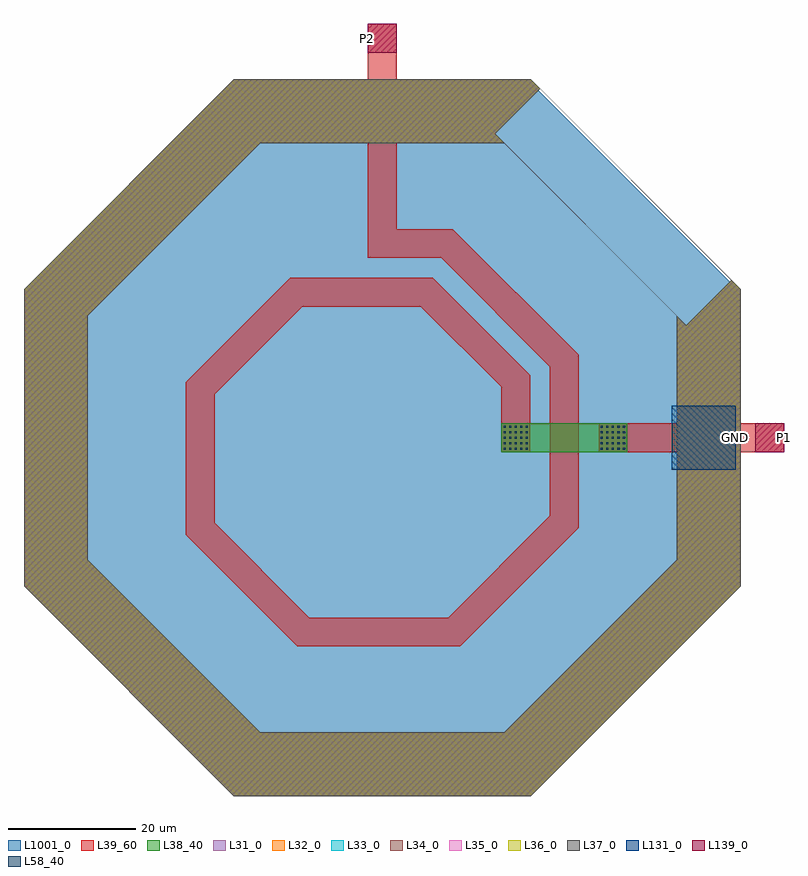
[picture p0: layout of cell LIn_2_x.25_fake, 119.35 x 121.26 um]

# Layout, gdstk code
import gdstk
lib = gdstk.Library(unit=1e-6, precision=1e-09)
def R(c, l, rs):  # rectangles x0, y0, x1, y1
    for r in rs: c.add(gdstk.rectangle(r[:2], r[2:], *l))
def A(c, l, x, y, w, h, nx, ny, dx, dy):  # array of equal rectangles
    R(c, l, [(x+i*dx, y+j*dy, x+i*dx+w, y+j*dy+h) for i in range(nx) for j in range(ny)])
def P(c, l, *ps):  # polygons
    for p in ps: c.add(gdstk.Polygon(p, *l))
L31_0 = (31, 0)
L32_0 = (32, 0)
L33_0 = (33, 0)
L34_0 = (34, 0)
L35_0 = (35, 0)
L36_0 = (36, 0)
L37_0 = (37, 0)
L38_40 = (38, 40)
L39_60 = (39, 60)
L58_40 = (58, 40)
L131_0 = (131, 0)
L139_0 = (139, 0)
L1001_0 = (1001, 0)

lin_2_x_25_fake = lib.new_cell('LIn_2_x.25_fake')
P(lin_2_x_25_fake, L31_0, [(47.731,17.7),(54.803,24.771),(23.307,56.267),(-23.307,56.267),(-56.267,23.307),(-56.267,-23.307),(-23.307,-56.267),(23.307,-56.267),(56.267,-23.307),(56.267,23.307),(24.771,54.803),(17.7,47.731),(46.267,19.164),(46.267,-19.164),(19.164,-46.267),(-19.164,-46.267),(-46.267,-19.164),(-46.267,19.164),(-19.164,46.267),(19.164,46.267)])
P(lin_2_x_25_fake, L32_0, [(47.731,17.7),(54.803,24.771),(23.307,56.267),(-23.307,56.267),(-56.267,23.307),(-56.267,-23.307),(-23.307,-56.267),(23.307,-56.267),(56.267,-23.307),(56.267,23.307),(24.771,54.803),(17.7,47.731),(46.267,19.164),(46.267,-19.164),(19.164,-46.267),(-19.164,-46.267),(-46.267,-19.164),(-46.267,19.164),(-19.164,46.267),(19.164,46.267)])
P(lin_2_x_25_fake, L33_0, [(47.731,17.7),(54.803,24.771),(23.307,56.267),(-23.307,56.267),(-56.267,23.307),(-56.267,-23.307),(-23.307,-56.267),(23.307,-56.267),(56.267,-23.307),(56.267,23.307),(24.771,54.803),(17.7,47.731),(46.267,19.164),(46.267,-19.164),(19.164,-46.267),(-19.164,-46.267),(-46.267,-19.164),(-46.267,19.164),(-19.164,46.267),(19.164,46.267)])
P(lin_2_x_25_fake, L34_0, [(47.731,17.7),(54.803,24.771),(23.307,56.267),(-23.307,56.267),(-56.267,23.307),(-56.267,-23.307),(-23.307,-56.267),(23.307,-56.267),(56.267,-23.307),(56.267,23.307),(24.771,54.803),(17.7,47.731),(46.267,19.164),(46.267,-19.164),(19.164,-46.267),(-19.164,-46.267),(-46.267,-19.164),(-46.267,19.164),(-19.164,46.267),(19.164,46.267)])
P(lin_2_x_25_fake, L35_0, [(47.731,17.7),(54.803,24.771),(23.307,56.267),(-23.307,56.267),(-56.267,23.307),(-56.267,-23.307),(-23.307,-56.267),(23.307,-56.267),(56.267,-23.307),(56.267,23.307),(24.771,54.803),(17.7,47.731),(46.267,19.164),(46.267,-19.164),(19.164,-46.267),(-19.164,-46.267),(-46.267,-19.164),(-46.267,19.164),(-19.164,46.267),(19.164,46.267)])
P(lin_2_x_25_fake, L36_0, [(47.731,17.7),(54.803,24.771),(23.307,56.267),(-23.307,56.267),(-56.267,23.307),(-56.267,-23.307),(-23.307,-56.267),(23.307,-56.267),(56.267,-23.307),(56.267,23.307),(24.771,54.803),(17.7,47.731),(46.267,19.164),(46.267,-19.164),(19.164,-46.267),(-19.164,-46.267),(-46.267,-19.164),(-46.267,19.164),(-19.164,46.267),(19.164,46.267)])
P(lin_2_x_25_fake, L37_0, [(47.731,17.7),(54.803,24.771),(23.307,56.267),(-23.307,56.267),(-56.267,23.307),(-56.267,-23.307),(-23.307,-56.267),(23.307,-56.267),(56.267,-23.307),(56.267,23.307),(24.771,54.803),(17.7,47.731),(46.267,19.164),(46.267,-19.164),(19.164,-46.267),(-19.164,-46.267),(-46.267,-19.164),(-46.267,19.164),(-19.164,46.267),(19.164,46.267)])
R(lin_2_x_25_fake, L38_40, [(18.71,-2.25,38.46,2.25)])
P(lin_2_x_25_fake, L38_40, [(47.731,17.7),(54.803,24.771),(23.307,56.267),(-23.307,56.267),(-56.267,23.307),(-56.267,-23.307),(-23.307,-56.267),(23.307,-56.267),(56.267,-23.307),(56.267,23.307),(24.771,54.803),(17.7,47.731),(46.267,19.164),(46.267,-19.164),(19.164,-46.267),(-19.164,-46.267),(-46.267,-19.164),(-46.267,19.164),(-19.164,46.267),(19.164,46.267)])
R(lin_2_x_25_fake, L39_60, [(33.96,-2.25,63.085,2.25), (-2.25,28.24,2.25,64.99)])
P(lin_2_x_25_fake, L39_60, [(18.71,-2.25),(23.21,-2.25),(23.21,9.847),(7.937,25.115),(-14.447,25.115),(-30.835,8.727),(-30.835,-15.237),(-13.332,-32.74),(12.212,-32.74),(30.835,-14.122),(30.835,13.002),(11.097,32.74),(0,32.74),(0,28.24),(9.233,28.24),(26.335,11.138),(26.335,-12.258),(10.348,-28.24),(-11.468,-28.24),(-26.335,-13.373),(-26.335,6.863),(-12.583,20.615),(6.073,20.615),(18.71,7.983)],
  [(47.731,17.7),(54.803,24.771),(23.307,56.267),(-23.307,56.267),(-56.267,23.307),(-56.267,-23.307),(-23.307,-56.267),(23.307,-56.267),(56.267,-23.307),(56.267,23.307),(24.771,54.803),(17.7,47.731),(46.267,19.164),(46.267,-19.164),(19.164,-46.267),(-19.164,-46.267),(-46.267,-19.164),(-46.267,19.164),(-19.164,46.267),(19.164,46.267)])
A(lin_2_x_25_fake, L58_40, 19.045, -1.915, 0.35, 0.35, 5, 5, 0.87, 0.87)
A(lin_2_x_25_fake, L58_40, 34.295, -1.915, 0.35, 0.35, 5, 5, 0.87, 0.87)
R(lin_2_x_25_fake, L131_0, [(45.49,-5,55.49,5)])
R(lin_2_x_25_fake, L139_0, [(58.585,-2.25,63.085,2.25), (-2.25,60.49,2.25,64.99)])
P(lin_2_x_25_fake, L1001_0, [(55.886,23.149),(23.149,55.886),(-23.149,55.886),(-55.886,23.149),(-55.886,-23.149),(-23.149,-55.886),(23.149,-55.886),(55.886,-23.149)],
  [(55.886,23.149),(23.149,55.886),(-23.149,55.886),(-55.886,23.149),(-55.886,-23.149),(-23.149,-55.886),(23.149,-55.886),(55.886,-23.149)],
  [(55.886,23.149),(23.149,55.886),(-23.149,55.886),(-55.886,23.149),(-55.886,-23.149),(-23.149,-55.886),(23.149,-55.886),(55.886,-23.149)],
  [(55.886,23.149),(23.149,55.886),(-23.149,55.886),(-55.886,23.149),(-55.886,-23.149),(-23.149,-55.886),(23.149,-55.886),(55.886,-23.149)],
  [(55.886,23.149),(23.149,55.886),(-23.149,55.886),(-55.886,23.149),(-55.886,-23.149),(-23.149,-55.886),(23.149,-55.886),(55.886,-23.149)],
  [(55.886,23.149),(23.149,55.886),(-23.149,55.886),(-55.886,23.149),(-55.886,-23.149),(-23.149,-55.886),(23.149,-55.886),(55.886,-23.149)],
  [(55.886,23.149),(23.149,55.886),(-23.149,55.886),(-55.886,23.149),(-55.886,-23.149),(-23.149,-55.886),(23.149,-55.886),(55.886,-23.149)],
  [(55.886,23.149),(23.149,55.886),(-23.149,55.886),(-55.886,23.149),(-55.886,-23.149),(-23.149,-55.886),(23.149,-55.886),(55.886,-23.149)],
  [(55.886,23.149),(23.149,55.886),(-23.149,55.886),(-55.886,23.149),(-55.886,-23.149),(-23.149,-55.886),(23.149,-55.886),(55.886,-23.149)])
lin_2_x_25_fake.add(gdstk.Label('P1', (63.085,0), layer=139, texttype=0))
lin_2_x_25_fake.add(gdstk.Label('P2', (-2.25,62.741), layer=139, texttype=0))
lin_2_x_25_fake.add(gdstk.Label('GND', (55.491,0), layer=131, texttype=0))

lib.write_gds('LIn_2_x.25_fake.gds')
